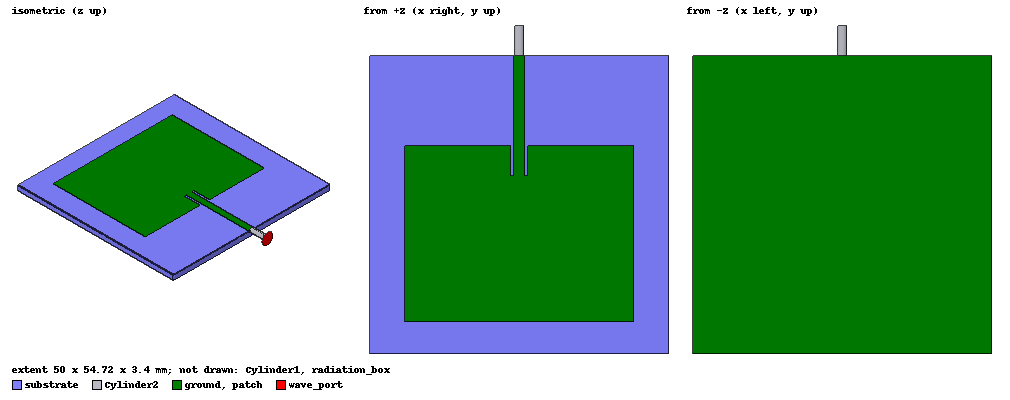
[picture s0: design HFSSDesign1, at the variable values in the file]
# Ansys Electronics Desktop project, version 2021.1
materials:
  vacuum: permittivity=1
  FR4_epoxy: permittivity=4.4 dielectric_loss_tangent=0.02
  pec: conductivity=1e+30
  air: permittivity=1.0006 permeability=1.0000004

design HFSSDesign1 (HFSS, DrivenTerminal, model units mm)
options: Calculate_Lossy_Dielectrics Save_Adaptive_support_files
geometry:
  substrate [FR4_epoxy] = box(corner=(-25mm, -20mm, 0mm), size=(50mm, 49.72mm, 1.6mm))
  patch = rectangle(corner=(-19.02mm, -14.72mm, 1.6mm), x_size=38.04mm, y_size=29.44mm)
  Rectangle1 = rectangle(corner=(-1.5mm, 9.72mm, 1.6mm), x_size=3mm, y_size=5mm)
  patch.subtract(Rectangle1)
  feed_line = rectangle(corner=(-0.9mm, 9.72mm, 1.6mm), x_size=1.8mm, y_size=20mm)
  patch.unite(feed_line)
  ground = rectangle(corner=(-25mm, -20mm, 0mm), x_size=50mm, y_size=49.72mm)
  Cylinder1 [vacuum] = cylinder(axis=Y, base_centre=(0mm, 29.72mm, 1.6mm), radius=1.7mm, height=5mm)
  Cylinder2 [pec] = cylinder(axis=Y, base_centre=(0mm, 29.72mm, 1.6mm), radius=0.7mm, height=5mm)
  wave_port = circle(normal=Y, centre=(0mm, 34.72mm, 1.6mm), radius=1.7mm)
  radiation_box [air] = box(corner=(-25mm, -20mm, -30mm), size=(50mm, 49.72mm, 60mm))
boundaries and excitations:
  PerfE1: Perfect E Objects=patch
  PerfE2: Perfect E Objects=ground
  Rad1: Radiation Faces=radiation_box.face(+z, -z, -y, -x, +x)
  wave_port_T1: Terminal port=1 Faces=Cylinder2.face(3 of 3) TerminalResistance=50ohm
  1: Wave Port Faces=wave_port.face NumModes=1
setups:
  Setup1: HfssDriven Frequency=2.4GHz MaxDeltaS=0.02 MaximumPasses=20 MinimumPasses=1 MinimumConvergedPasses=1 PercentRefinement=30 BasisOrder=1 PortAccuracy=2
    sweep Sweep: 1GHz to 3GHz step 0.01GHz; Type=Fast SaveFields
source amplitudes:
  1:1: 1V 0deg
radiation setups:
  Infinite Sphere1: Infinite Sphere Theta=0deg..180deg step 10deg Phi=0deg..360deg step 10deg
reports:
  XY Plot 1: dB(St(wave_port_T1,wave_port_T1)) vs Freq on Setup1 : Sweep; markers m1 at 2.27GHz
  XY Plot 2: dB(VSWRt(wave_port_T1)) vs Freq on Setup1 : Sweep
  Radiation Pattern 1: dB(rETotal) vs Theta on Setup1 : LastAdaptive, Infinite Sphere1 [Phi=0deg Freq=2.4GHz]
